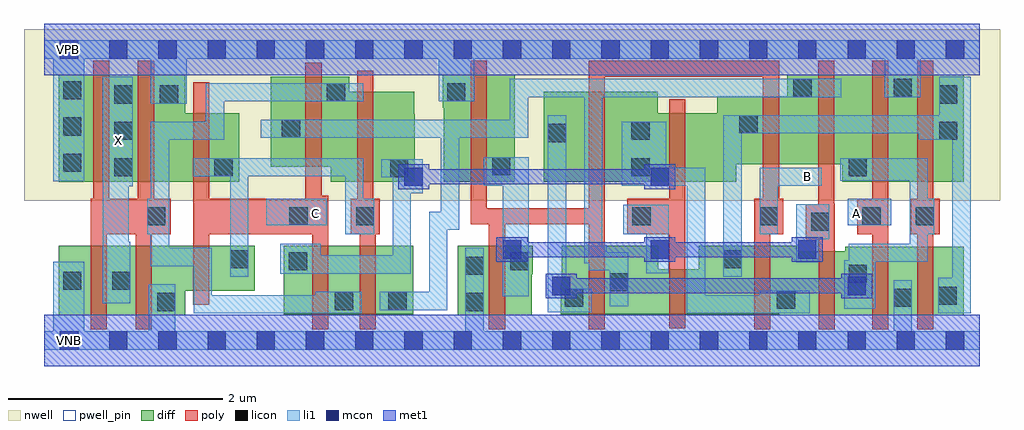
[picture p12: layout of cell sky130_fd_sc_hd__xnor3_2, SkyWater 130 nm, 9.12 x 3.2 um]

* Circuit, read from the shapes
.subckt sky130_fd_sc_hd__xnor3_2 A B C VGND VPB VPWR X
XM1 X n1 VGND VSUBS sky130_fd_pr__nfet_01v8 w=0.65 l=0.15 m=2
XM2 n2 C VGND VSUBS sky130_fd_pr__nfet_01v8 w=0.42 l=0.15
XM3 n1 C n3 VSUBS sky130_fd_pr__nfet_01v8 w=0.64 l=0.15
XM4 n4 n2 n1 VSUBS sky130_fd_pr__nfet_01v8 w=0.64 l=0.15
XM5 n5 B VGND VSUBS sky130_fd_pr__nfet_01v8 w=0.65 l=0.15
XM6 n4 B n6 VSUBS sky130_fd_pr__nfet_01v8 w=0.64 l=0.15
XM7 n7 n5 n4 VSUBS sky130_fd_pr__nfet_01v8 w=0.42 l=0.15
XM8 n3 B n7 VSUBS sky130_fd_pr__nfet_01v8 w=0.64 l=0.15
XM9 n6 n5 n3 VSUBS sky130_fd_pr__nfet_01v8 w=0.6 l=0.15
XM10 VGND A n6 VSUBS sky130_fd_pr__nfet_01v8 w=0.64 l=0.15
XM11 n7 n6 VGND VSUBS sky130_fd_pr__nfet_01v8 w=0.64 l=0.15
XM12 X n1 VPWR VPB sky130_fd_pr__pfet_01v8 w=1 l=0.15 m=2
XM13 n2 C VPWR VPB sky130_fd_pr__pfet_01v8 w=0.64 l=0.15
XM14 n1 C n4 VPB sky130_fd_pr__pfet_01v8 w=0.84 l=0.15
XM15 n3 n2 n1 VPB sky130_fd_pr__pfet_01v8 w=0.84 l=0.15
XM16 n5 B VPWR VPB sky130_fd_pr__pfet_01v8 w=1 l=0.15
XM17 n3 B n6 VPB sky130_fd_pr__pfet_01v8 w=0.84 l=0.15
XM18 n7 n5 n3 VPB sky130_fd_pr__pfet_01v8 w=0.64 l=0.15
XM19 n4 B n7 VPB sky130_fd_pr__pfet_01v8 w=0.64 l=0.15
XM20 n6 n5 n4 VPB sky130_fd_pr__pfet_01v8 w=0.84 l=0.15
XM21 VPWR A n6 VPB sky130_fd_pr__pfet_01v8 w=1 l=0.15
XM22 n7 n6 VPWR VPB sky130_fd_pr__pfet_01v8 w=1 l=0.15
.ends

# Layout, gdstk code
import gdstk
lib = gdstk.Library(unit=1e-6, precision=1e-09)
def R(c, l, rs):  # rectangles x0, y0, x1, y1
    for r in rs: c.add(gdstk.rectangle(r[:2], r[2:], *l))
def A(c, l, x, y, w, h, nx, ny, dx, dy):  # array of equal rectangles
    R(c, l, [(x+i*dx, y+j*dy, x+i*dx+w, y+j*dy+h) for i in range(nx) for j in range(ny)])
def P(c, l, *ps):  # polygons
    for p in ps: c.add(gdstk.Polygon(p, *l))
nwell = (64, 20)
diff = (65, 20)
poly = (66, 20)
licon = (66, 44)
li1 = (67, 20)
mcon = (67, 44)
met1 = (68, 20)
pwell_pin = (122, 16)

sky130_fd_sc_hd__xnor3_2 = lib.new_cell('sky130_fd_sc_hd__xnor3_2')
R(sky130_fd_sc_hd__xnor3_2, nwell, [(-0.19,1.305,8.93,2.91)])
R(sky130_fd_sc_hd__xnor3_2, diff, [(2.235,0.245,3.445,0.885)])
P(sky130_fd_sc_hd__xnor3_2, diff, [(1.82,2.125),(1.315,2.125),(1.315,2.485),(0.135,2.485),(0.135,1.485),(1.82,1.485)],
  [(8.59,0.875),(7.485,0.875),(7.485,0.835),(7.035,0.835),(7.035,0.885),(6.115,0.885),(6.115,0.665),(5.735,0.665),(5.735,0.885),(4.835,0.885),(4.835,0.52),(4.825,0.52),(4.825,0.245),(6.87,0.245),(6.87,0.235),(8.59,0.235)],
  [(1.965,0.885),(0.135,0.885),(0.135,0.235),(1.315,0.235),(1.315,0.465),(1.965,0.465)],
  [(3.46,2.115),(3.455,2.115),(3.455,2.325),(2.85,2.325),(2.85,2.465),(2.115,2.465),(2.115,1.625),(2.675,1.625),(2.675,1.485),(3.46,1.485)],
  [(4.395,2.485),(3.725,2.485),(3.725,2.175),(3.73,2.175),(3.73,1.485),(4.395,1.485)],
  [(4.565,0.885),(3.865,0.885),(3.865,0.235),(4.555,0.235),(4.555,0.62),(4.565,0.62)],
  [(8.59,2.485),(6.94,2.485),(6.94,2.285),(6.29,2.285),(6.29,2.125),(5.73,2.125),(5.73,2.325),(4.665,2.325),(4.665,1.485),(6.465,1.485),(6.465,1.645),(7.455,1.645),(7.455,1.485),(8.59,1.485)])
P(sky130_fd_sc_hd__xnor3_2, poly, [(1.18,1.325),(1.025,1.325),(1.025,2.615),(0.875,2.615),(0.875,1.325),(0.605,1.325),(0.605,2.615),(0.455,2.615),(0.455,1.325),(0.435,1.325),(0.435,0.105),(0.585,0.105),(0.585,0.995),(0.855,0.995),(0.855,0.105),(1.005,0.105),(1.005,0.995),(1.18,0.995)],
  [(2.655,1.355),(2.59,1.355),(2.59,2.595),(2.44,2.595),(2.44,1.325),(1.54,1.325),(1.54,2.415),(1.39,2.415),(1.39,0.335),(1.54,0.335),(1.54,0.995),(2.505,0.995),(2.505,0.105),(2.655,0.105)],
  [(3.135,1.325),(3.075,1.325),(3.075,2.52),(2.925,2.52),(2.925,1.325),(2.865,1.325),(2.865,0.995),(2.945,0.995),(2.945,0.105),(3.095,0.105),(3.095,0.995),(3.135,0.995)],
  [(5.99,2.255),(5.84,2.255),(5.84,1.325),(5.445,1.325),(5.445,0.995),(5.84,0.995),(5.84,0.115),(5.99,0.115)],
  [(6.905,1.325),(6.865,1.325),(6.865,2.615),(5.085,2.615),(5.085,1.235),(4.135,1.235),(4.135,2.615),(3.985,2.615),(3.985,1.085),(4.155,1.085),(4.155,0.105),(4.305,0.105),(4.305,1.085),(5.085,1.085),(5.085,0.105),(5.235,0.105),(5.235,2.465),(6.715,2.465),(6.715,1.325),(6.635,1.325),(6.635,0.105),(6.785,0.105),(6.785,0.995),(6.905,0.995)],
  [(7.385,1.28),(7.38,1.28),(7.38,2.615),(7.23,2.615),(7.23,1.275),(7.115,1.275),(7.115,0.945),(7.235,0.945),(7.235,0.105),(7.385,0.105)],
  [(7.885,2.615),(7.735,2.615),(7.735,1.325),(7.595,1.325),(7.595,0.995),(7.735,0.995),(7.735,0.105),(7.885,0.105)],
  [(8.365,1.325),(8.305,1.325),(8.305,2.615),(8.155,2.615),(8.155,1.325),(8.095,1.325),(8.095,0.995),(8.155,0.995),(8.155,0.105),(8.305,0.105),(8.305,0.995),(8.365,0.995)])
A(sky130_fd_sc_hd__xnor3_2, licon, 0.655, 1.535, 0.17, 0.17, 1, 3, 0, 0.34)
A(sky130_fd_sc_hd__xnor3_2, licon, 0.175, 1.575, 0.17, 0.17, 1, 3, 0, 0.34)
R(sky130_fd_sc_hd__xnor3_2, licon, [(1.055,0.275,1.225,0.445), (3.935,0.275,4.105,0.445), (2.715,0.285,2.885,0.455), (3.215,0.285,3.385,0.455), (6.845,0.295,7.015,0.465), (4.865,0.315,5.035,0.485), (7.935,0.315,8.105,0.485), (8.355,0.335,8.525,0.505), (5.285,0.46,5.455,0.63), (0.175,0.475,0.345,0.645), (0.635,0.475,0.805,0.645), (7.515,0.54,7.685,0.71), (3.935,0.615,4.105,0.785), (2.285,0.655,2.455,0.825), (4.355,0.655,4.525,0.825), (1.735,0.675,1.905,0.845), (6.345,0.675,6.515,0.845), (7.165,1.025,7.335,1.195), (0.96,1.075,1.13,1.245), (2.29,1.075,2.46,1.245), (2.915,1.075,3.085,1.245), (5.495,1.075,5.665,1.245), (6.685,1.075,6.855,1.245), (7.645,1.075,7.815,1.245), (8.145,1.075,8.315,1.245), (3.23,1.525,3.4,1.695), (1.59,1.535,1.76,1.705), (5.485,1.535,5.655,1.705), (7.515,1.535,7.685,1.705), (4.185,1.545,4.355,1.715), (4.705,1.855,4.875,2.025), (5.485,1.875,5.655,2.045), (8.36,1.875,8.53,2.045), (2.22,1.895,2.39,2.065), (6.495,1.935,6.665,2.105), (1.08,2.215,1.25,2.385), (8.36,2.215,8.53,2.385), (2.64,2.235,2.81,2.405), (3.765,2.235,3.935,2.405), (7,2.275,7.17,2.445), (7.935,2.275,8.105,2.445)])
R(sky130_fd_sc_hd__xnor3_2, li1, [(2.075,1.075,2.64,1.325), (7.505,1.075,7.915,1.325)])
P(sky130_fd_sc_hd__xnor3_2, li1, [(0.825,2.465),(0.545,2.465),(0.545,0.35),(0.805,0.35),(0.805,0.925),(0.79,0.925),(0.79,1.44),(0.825,1.44)],
  [(2.98,2.405),(1.51,2.405),(1.51,2.045),(0.995,2.045),(0.995,1.325),(0.96,1.325),(0.96,0.995),(0.99,0.995),(0.99,0.695),(1.395,0.695),(1.395,0.255),(2.965,0.255),(2.965,0.455),(2.53,0.455),(2.53,0.425),(1.565,0.425),(1.565,0.865),(1.165,0.865),(1.165,1.875),(1.68,1.875),(1.68,2.235),(2.98,2.235)],
  [(3.085,1.325),(2.98,1.325),(2.98,1.705),(1.395,1.705),(1.395,1.535),(1.735,1.535),(1.735,0.595),(1.905,0.595),(1.905,1.535),(2.81,1.535),(2.81,0.995),(3.085,0.995)],
  [(8.74,0.085),(8.105,0.085),(8.105,0.565),(7.935,0.565),(7.935,0.085),(4.105,0.085),(4.105,0.865),(3.935,0.865),(3.935,0.085),(1.225,0.085),(1.225,0.525),(0.975,0.525),(0.975,0.085),(0.375,0.085),(0.375,0.735),(0.085,0.735),(0.085,0.085),(0,0.085),(0,-0.085),(8.74,-0.085)],
  [(3.535,1.695),(3.15,1.695),(3.15,1.525),(3.255,1.525),(3.255,0.795),(2.585,0.795),(2.585,0.905),(2.205,0.905),(2.205,0.625),(3.425,0.625),(3.425,1.375),(3.535,1.375)],
  [(8.655,2.465),(8.36,2.465),(8.36,2.105),(6.345,2.105),(6.345,0.595),(6.515,0.595),(6.515,1.935),(8.17,1.935),(8.17,1.875),(8.485,1.875),(8.485,0.585),(8.355,0.585),(8.355,0.255),(8.655,0.255)],
  [(8.315,1.325),(8.255,1.325),(8.255,1.705),(7.435,1.705),(7.435,1.495),(8.085,1.495),(8.085,0.905),(7.515,0.905),(7.515,0.75),(7.475,0.75),(7.475,0.295),(7.765,0.295),(7.765,0.735),(8.255,0.735),(8.255,0.995),(8.315,0.995)],
  [(4.525,1.715),(4.105,1.715),(4.105,1.445),(4.285,1.445),(4.285,0.415),(4.525,0.415)],
  [(5.115,0.485),(4.915,0.485),(4.915,0.595),(4.875,0.595),(4.875,2.105),(4.705,2.105),(4.705,0.265),(5.115,0.265)],
  [(8.74,2.805),(0,2.805),(0,2.635),(0.085,2.635),(0.085,1.49),(0.375,1.49),(0.375,2.635),(0.995,2.635),(0.995,2.215),(1.33,2.215),(1.33,2.635),(3.685,2.635),(3.685,2.235),(4.015,2.235),(4.015,2.635),(7.855,2.635),(7.855,2.275),(8.19,2.275),(8.19,2.635),(8.74,2.635)],
  [(5.835,1.27),(5.41,1.27),(5.41,0.995),(5.625,0.995),(5.625,0.63),(5.835,0.63)],
  [(7.15,0.465),(6.685,0.465),(6.685,0.425),(6.175,0.425),(6.175,1.615),(5.81,1.615),(5.81,2.045),(5.395,2.045),(5.395,1.445),(6.005,1.445),(6.005,0.255),(7.15,0.255)],
  [(7.265,1.615),(6.685,1.615),(6.685,0.995),(6.855,0.995),(6.855,1.445),(7.265,1.445)],
  [(7.335,1.275),(7.025,1.275),(7.025,0.73),(7.23,0.73),(7.23,0.945),(7.335,0.945)],
  [(7.445,2.445),(4.35,2.445),(4.35,2.065),(2.02,2.065),(2.02,1.895),(3.705,1.895),(3.705,1.205),(3.595,1.205),(3.595,0.455),(3.135,0.455),(3.135,0.285),(3.765,0.285),(3.765,1.035),(3.875,1.035),(3.875,1.895),(4.52,1.895),(4.52,2.275),(5.045,2.275),(5.045,0.72),(5.085,0.72),(5.085,0.655),(5.285,0.655),(5.285,0.32),(5.455,0.32),(5.455,0.825),(5.255,0.825),(5.255,0.89),(5.215,0.89),(5.215,2.275),(7.445,2.275)])
A(sky130_fd_sc_hd__xnor3_2, mcon, 0.145, -0.085, 0.17, 0.17, 19, 2, 0.46, 2.72)
A(sky130_fd_sc_hd__xnor3_2, mcon, 4.285, 0.765, 0.17, 0.17, 3, 1, 1.38, 0)
R(sky130_fd_sc_hd__xnor3_2, mcon, [(4.745,0.425,4.915,0.595), (7.505,0.425,7.675,0.595), (3.365,1.445,3.535,1.615), (5.665,1.445,5.835,1.615)])
P(sky130_fd_sc_hd__xnor3_2, met1, [(5.895,1.645),(5.605,1.645),(5.605,1.6),(3.595,1.6),(3.595,1.645),(3.305,1.645),(3.305,1.415),(3.595,1.415),(3.595,1.46),(5.605,1.46),(5.605,1.415),(5.895,1.415)],
  [(7.275,0.965),(6.985,0.965),(6.985,0.92),(5.895,0.92),(5.895,0.965),(5.605,0.965),(5.605,0.92),(4.515,0.92),(4.515,0.965),(4.225,0.965),(4.225,0.735),(4.515,0.735),(4.515,0.78),(5.605,0.78),(5.605,0.735),(5.895,0.735),(5.895,0.78),(6.985,0.78),(6.985,0.735),(7.275,0.735)],
  [(7.735,0.625),(7.445,0.625),(7.445,0.58),(4.975,0.58),(4.975,0.625),(4.685,0.625),(4.685,0.395),(4.975,0.395),(4.975,0.44),(7.445,0.44),(7.445,0.395),(7.735,0.395)])
R(sky130_fd_sc_hd__xnor3_2, pwell_pin, [(0.15,-0.085,0.32,0.085)])
sky130_fd_sc_hd__xnor3_2.add(gdstk.FlexPath([(0,2.72),(8.74,2.72)], 0.48, ends="flush", simple_path=True, layer=68, datatype=20))  # met1
sky130_fd_sc_hd__xnor3_2.add(gdstk.FlexPath([(0,0),(8.74,0)], 0.48, ends="flush", simple_path=True, layer=68, datatype=20))  # met1
sky130_fd_sc_hd__xnor3_2.add(gdstk.Label('X', (0.69,1.87), layer=67, texttype=5))
sky130_fd_sc_hd__xnor3_2.add(gdstk.Label('B', (7.13,1.53), layer=67, texttype=5))
sky130_fd_sc_hd__xnor3_2.add(gdstk.Label('C', (2.53,1.19), layer=67, texttype=5))
sky130_fd_sc_hd__xnor3_2.add(gdstk.Label('A', (7.59,1.19), layer=67, texttype=5))
sky130_fd_sc_hd__xnor3_2.add(gdstk.Label('VNB', (0.235,0), layer=122, texttype=16))
sky130_fd_sc_hd__xnor3_2.add(gdstk.Label('VPB', (0.23,2.72), layer=64, texttype=5))
sky130_fd_sc_hd__xnor3_2.add(gdstk.Label('VGND', (0.23,0), layer=68, texttype=5))
sky130_fd_sc_hd__xnor3_2.add(gdstk.Label('VPWR', (0.23,2.72), layer=68, texttype=5))

lib.write_gds('sky130_fd_sc_hd__xnor3_2.gds')
